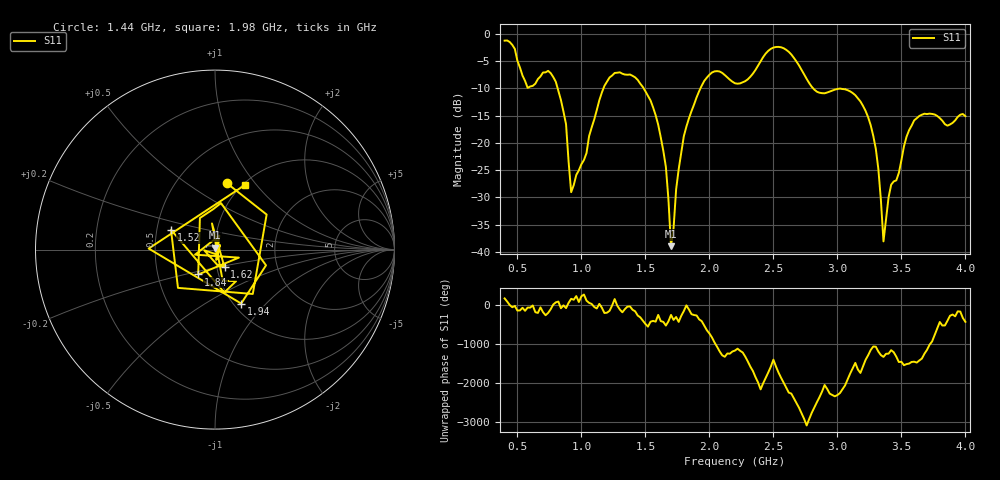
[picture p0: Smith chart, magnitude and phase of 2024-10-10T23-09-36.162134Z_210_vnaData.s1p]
! Created with skrf (http://scikit-rf.org).
# Hz S RI R 50.0
!freq ReS11 ImS11
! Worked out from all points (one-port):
!   181 points, 400 MHz to 4 GHz, reference 50 ohm
!   lowest |S11| = -38.9 dB at 1.7 GHz (marker M1), VSWR 1.02, Z = 49.9 + j1.12 ohm
!   |S11| at or under -10 dB: 813.9 MHz to 1.173 GHz (358.8 MHz wide, 36.1 % of centre); 1.486 GHz to 1.931 GHz (444.8 MHz wide, 26 % of centre); 2.81 GHz to end of sweep
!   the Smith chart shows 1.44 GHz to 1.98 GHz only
!   S11 on the Smith chart (normalised r, x): 1.44 GHz: 0.85, +0.73; 1.52 GHz: 0.59, +0.14; 1.62 GHz: 1.09, -0.22; 1.84 GHz: 0.80, -0.23; 1.94 GHz: 1.08, -0.73; 1.98 GHz: 1.02, +0.87
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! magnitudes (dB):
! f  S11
! 400 MHz  -1.3
! 580 MHz  -9.9
! 760 MHz  -7.2
! 860 MHz  -14.3
! 880 MHz  -16.6
! 920 MHz  -29.0
! 1.18 GHz  -9.6
! 1.3 GHz  -7.1
! 1.44 GHz  -8.5
! 1.52 GHz  -11.4
! 1.62 GHz  -19.0
! 1.66 GHz  -24.4
! 1.7 GHz  -38.9
! 1.76 GHz  -24.8
! 1.84 GHz  -15.5
! 1.94 GHz  -9.5
! 1.98 GHz  -8.1
! 2.2 GHz  -9.1
! 2.5 GHz  -2.6
! 2.66 GHz  -4.4
! 2.84 GHz  -10.6
! 3.1 GHz  -10.6
! 3.28 GHz  -18.7
! 3.32 GHz  -24.8
! 3.36 GHz  -38.0
! 3.42 GHz  -27.7
! 3.56 GHz  -17.7
! 4 GHz  -15.1
